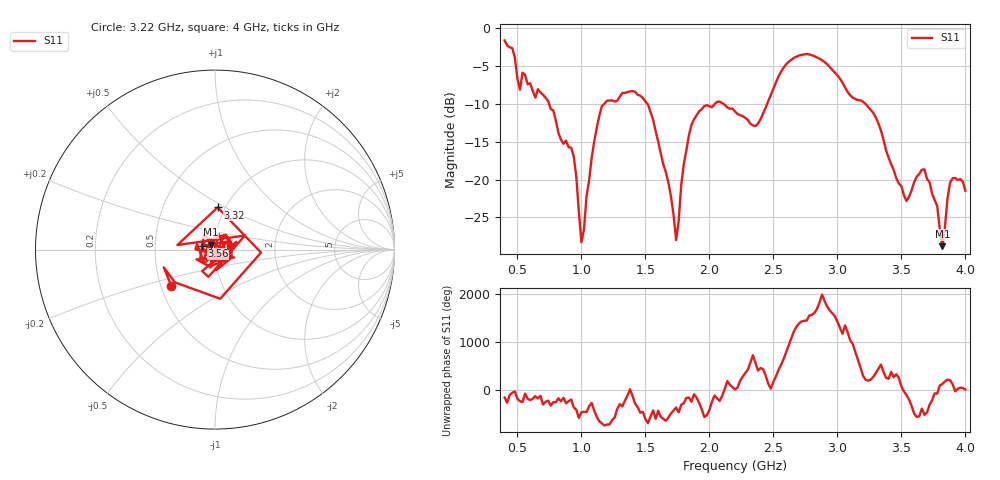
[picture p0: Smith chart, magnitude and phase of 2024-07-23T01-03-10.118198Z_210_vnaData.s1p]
!Created with skrf (http://scikit-rf.org).
# Hz S RI R 50.0
!freq ReS11 ImS11
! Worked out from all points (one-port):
!   181 points, 400 MHz to 4 GHz, reference 50 ohm
!   lowest |S11| = -28.8 dB at 3.82 GHz (marker M1), VSWR 1.08, Z = 47.7 + j2.68 ohm
!   |S11| at or under -10 dB: 747 MHz to 1.18 GHz (432.9 MHz wide, 44.9 % of centre); 1.515 GHz to 2.043 GHz (528.1 MHz wide, 29.7 % of centre); 3.219 GHz to end of sweep (the widest 3 of 4)
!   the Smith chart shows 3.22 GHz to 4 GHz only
!   S11 on the Smith chart (normalised r, x): 3.22 GHz: 0.57, -0.25; 3.32 GHz: 0.92, +0.46; 3.56 GHz: 0.86, +0.04; 4 GHz: 1.18, +0.05
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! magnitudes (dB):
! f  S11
! 400 MHz  -1.6
! 460 MHz  -2.6
! 520 MHz  -8.1
! 540 MHz  -5.9
! 720 MHz  -9.2
! 860 MHz  -15.3
! 940 MHz  -16.9
! 1 GHz  -28.3
! 1.16 GHz  -10.3
! 1.3 GHz  -9.1
! 1.52 GHz  -10.1
! 1.68 GHz  -20.4
! 1.74 GHz  -28.0
! 1.76 GHz  -25.5
! 1.8 GHz  -18.0
! 1.88 GHz  -12.0
! 2.2 GHz  -11.0
! 2.36 GHz  -13.0
! 2.66 GHz  -3.9
! 3.1 GHz  -8.9
! 3.22 GHz  -10.0
! 3.32 GHz  -12.6
! 3.56 GHz  -22.3
! 3.68 GHz  -18.7
! 3.78 GHz  -23.5
! 3.82 GHz  -28.8
! 3.88 GHz  -20.4
! 4 GHz  -21.5
